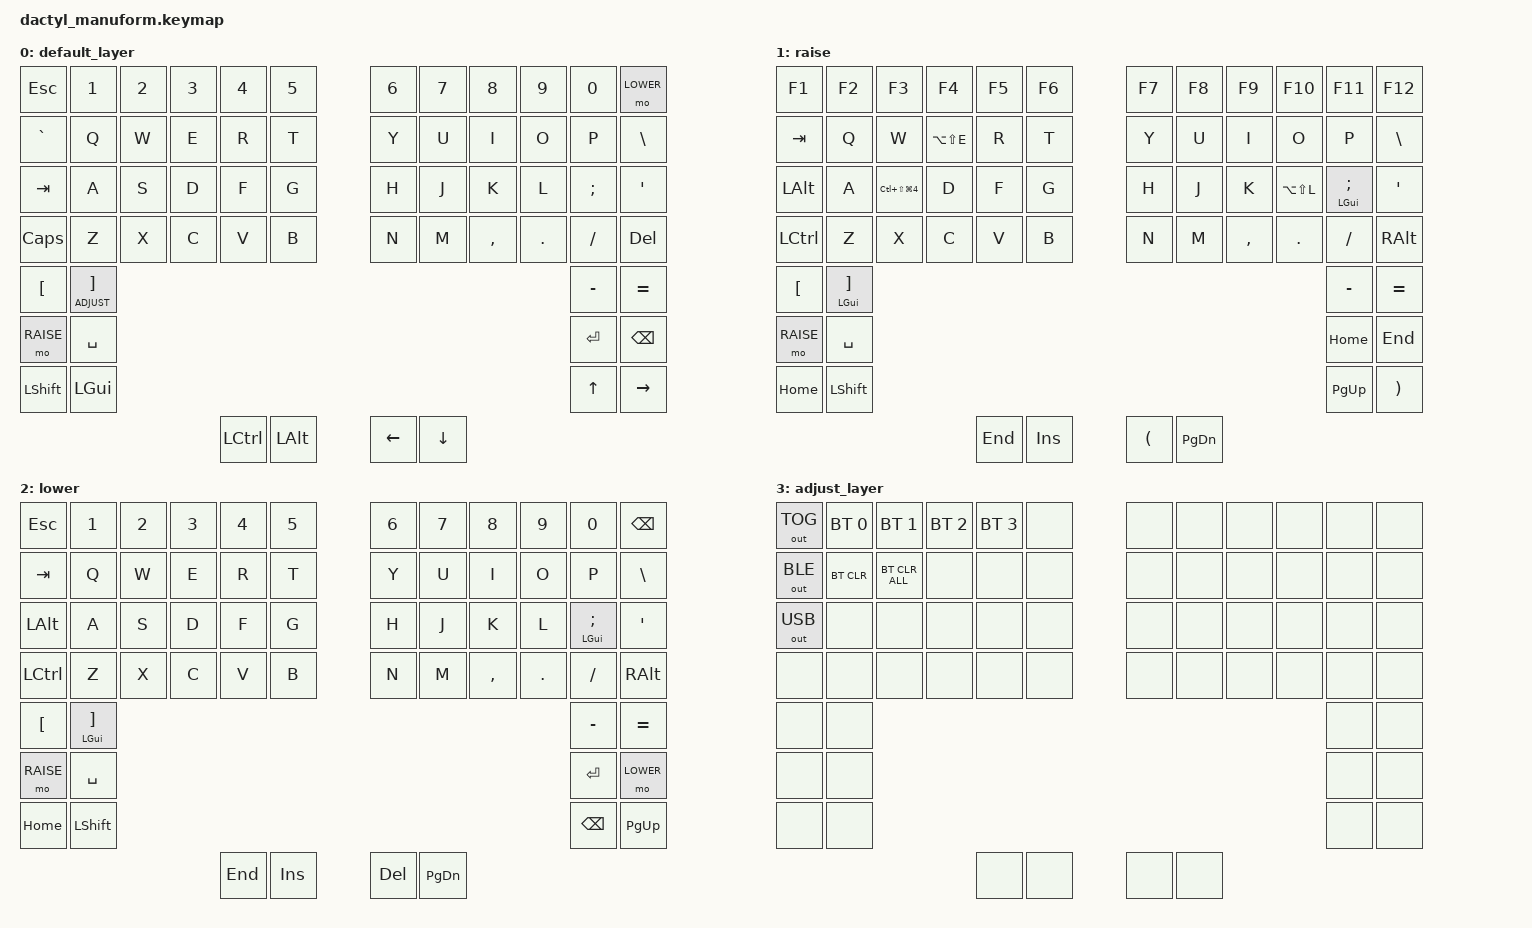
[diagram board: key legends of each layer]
#include <behaviors.dtsi>
#include <dt-bindings/zmk/keys.h>
#include <dt-bindings/zmk/bt.h>
#include <dt-bindings/zmk/outputs.h>

#define DEFAULT 0
#define RAISE   1
#define LOWER   2
#define ADJUST  3

/ {
    keymap {
        compatible = "zmk,keymap";

        default_layer {
// Commented layout is not actual layout.
// -------------------------------------------------------------------------------------------------------------------------
// |   ESC   |    1    |    2    |    3    |    4    |    5    |                   |    6    |    7    |    8    |    9    |    0    |  BSPC   |
// |   TAB   |    Q    |    W    |    E    |    R    |    T    |                   |    Y    |    U    |    I    |    O    |    P    |    \    |
// |  LALT   |    A    |    S    |    D    |    F    |    G    |                   |    H    |    J    |    K    |    L    |    ;    |    '    |
// |  LCTRL  |    Z    |    X    |    C    |    V    |    B    |                   |    N    |    M    |    ,    |    .    |    /    |  RALT   |
//                     |    [    |    ]    |                                                           |    -    |    =    |
//                               | MO lay 1| SPACE   |                   | ENTER   | MO lay 2|
//                                         |   TAB   |   HOME  |   END   |   DEL   |
//                                         |  Raise  |    ~    |   GUI   |  Lower  |
            bindings = <
&kp ESC    &kp N1     &kp N2    &kp N3     &kp N4     &kp N5                          &kp N6     &kp N7     &kp N8     &kp N9     &kp N0         &mo LOWER
&kp GRAVE  &kp Q      &kp W     &kp E      &kp R      &kp T                           &kp Y      &kp U      &kp I      &kp O      &kp P          &kp BSLH
&kp TAB    &kp A      &kp S     &kp D      &kp F      &kp G                           &kp H      &kp J      &kp K      &kp L      &kp SEMI       &kp SQT
&kp CAPS   &kp Z      &kp X     &kp C      &kp V      &kp B                           &kp N      &kp M      &kp COMMA  &kp DOT    &kp FSLH       &kp DELETE
                      &kp LBKT  &lt ADJUST RBKT                                                             &kp MINUS  &kp EQUAL
                                          &mo RAISE  &kp SPACE                        &kp ENTER   &kp BSPC
                                                     &kp LSHIFT &kp LGUI                          &kp UP_ARROW    &kp RIGHT_ARROW
                                                     &kp LCTRL  &kp LALT                         &kp LEFT_ARROW     &kp DOWN_ARROW
            >;
        };
        raise {
// commented layout is not actual layout.
// -------------------------------------------------------------------------------------------------------------------------
// |    F1   |   F2    |   F3    |   F4    |   F5    |                   |   F6    |   F7    |   F8    |   F9    |   F10   |  F11    |  F12    |
// |   tab   |    q    |    w    |    e    |    r    |    t    |                   |    y    |    u    |    i    |    o    |    p    |    \    |
// |  lalt   |    a    |    s    |    d    |    f    |    g    |                   |    h    |    j    |    k    |    l    |    ;    |    '    |
// |  lctrl  |    z    |    x    |    c    |    v    |    b    |                   |    n    |    m    |    ,    |    .    |    /    |  ralt   |
//                     |    [    |    ]    |                                                           |    -    |    =    |
//                               | mo lay 1| space   |                   | enter   | mo lay 2|
//                                         |   tab   |   home  |   end   |   del   |
//                                         |  raise  |    ~    |   gui   |  lower  |
            bindings = <
&kp F1     &kp F2     &kp F3               &kp F4             &kp F5     &kp F6                          &kp F7     &kp F8     &kp F9     &kp F10        &kp F11        &kp F12
&kp TAB    &kp Q      &kp W                &kp LA(LS(E))      &kp R      &kp T                           &kp Y      &kp U      &kp I      &kp O          &kp P          &kp BSLH
&kp LALT   &kp A      &kp LC(LS(LG(N4)))   &kp D              &kp F      &kp G                           &kp H      &kp J      &kp K      &kp LA(LS(L))  &mt LGUI SEMI  &kp SQT
&kp LCTRL  &kp Z      &kp X                &kp C              &kp V      &kp B                           &kp N      &kp M      &kp COMMA  &kp DOT    &kp FSLH       &kp RALT
                      &kp LBKT             &mt LGUI RBKT                                                                       &kp MINUS  &kp EQUAL
                                           &mo RAISE  &kp SPACE                                                     &kp HOME   &kp END
                                                      &kp HOME &kp LSHIFT                  &kp PG_UP                &kp RIGHT_PARENTHESIS
                                                      &kp END  &kp INS                     &kp LEFT_PARENTHESIS     &kp PG_DN
            >;
        };

        lower {
// commented layout is not actual layout.
// -------------------------------------------------------------------------------------------------------------------------
// |   esc   |    1    |    2    |    3    |    4    |    5    |                   |    6    |    7    |    8    |    9    |    0    |  bspc   |
// |   tab   |    q    |    w    |    e    |    r    |    t    |                   |    y    |    u    |    i    |    o    |    p    |    \    |
// |  lalt   |    a    |    s    |    d    |    f    |    g    |                   |    h    |    j    |    k    |    l    |    ;    |    '    |
// |  lctrl  |    z    |    x    |    c    |    v    |    b    |                   |    n    |    m    |    ,    |    .    |    /    |  ralt   |
//                     |    [    |    ]    |                                                           |    -    |    =    |
//                               | mo lay 1| space   |                   | enter   | mo lay 2|
//                                         |   tab   |   home  |   end   |   del   |
//                                         |  raise  |    ~    |   gui   |  lower  |
            bindings = <
&kp ESC    &kp N1     &kp N2    &kp N3     &kp N4     &kp N5                          &kp N6     &kp N7     &kp N8     &kp N9     &kp N0         &kp BSPC
&kp TAB    &kp Q      &kp W     &kp E      &kp R      &kp T                           &kp Y      &kp U      &kp I      &kp O      &kp P          &kp BSLH
&kp LALT   &kp A      &kp S     &kp D      &kp F      &kp G                           &kp H      &kp J      &kp K      &kp L      &mt LGUI SEMI  &kp SQT
&kp LCTRL  &kp Z      &kp X     &kp C      &kp V      &kp B                           &kp N      &kp M      &kp COMMA  &kp DOT    &kp FSLH       &kp RALT
                      &kp LBKT  &mt LGUI RBKT                                                               &kp MINUS  &kp EQUAL
                                          &mo RAISE  &kp SPACE                &kp ENTER   &mo LOWER
                                                      &kp HOME &kp LSHIFT   &kp BSPC    &kp PG_UP
                                                      &kp END  &kp INS      &kp DEL     &kp PG_DN
            >;
        };

        adjust_layer {
// commented layout is not actual layout.
// -------------------------------------------------------------------------------------------------------------------------
// |  none   | Profile 0 | Profile 1 |  Profile 2  |   Profile 3  |   none  |                   |  none  |  none  | none  |  none  |  none  |  none  |
// |  none   |   CLEAR   | CLEAR ALL |  none       |   none       |   none  |                   |  none  |  none  | none  |  none  |  none  |  none  |
// |  none   |   none    |   none    |  none       |   none       |   none  |                   |  none  |  none  | none  |  none  |  none  |  none  |
// |  none   |   none    |   none    |  none       |   none       |   none  |                   |  none  |  none  | none  |  none  |  none  |  none  |
//                       |   none    |  none       |                                                              | none  |  none  |
//                                   |  none       |  none        |                     | none  |  none  |
//                                                 |  none        |   none  |   none    | none  |
//                                                 |  none        |   none  |   none    | none  |
            bindings = <  
&out OUT_TOG   &bt BT_SEL 0    &bt BT_SEL 1    &bt BT_SEL 2     &bt BT_SEL 3    &none                           &none     &none     &none     &none     &none     &none
&out OUT_BLE   &bt BT_CLR      &bt BT_CLR_ALL  &none            &none           &none                           &none     &none     &none     &none     &none     &none
&out OUT_USB   &none           &none           &none            &none           &none                           &none     &none     &none     &none     &none     &none
&none          &none           &none           &none            &none           &none                           &none     &none     &none     &none     &none     &none
                               &none           &none                                                                                &none     &none
                                               &none  &none                                                                 &none   &none
                                                      &none  &none                                                 &none    &none
                                                      &none  &none                                                 &none    &none
>;   
        };
   };
};
